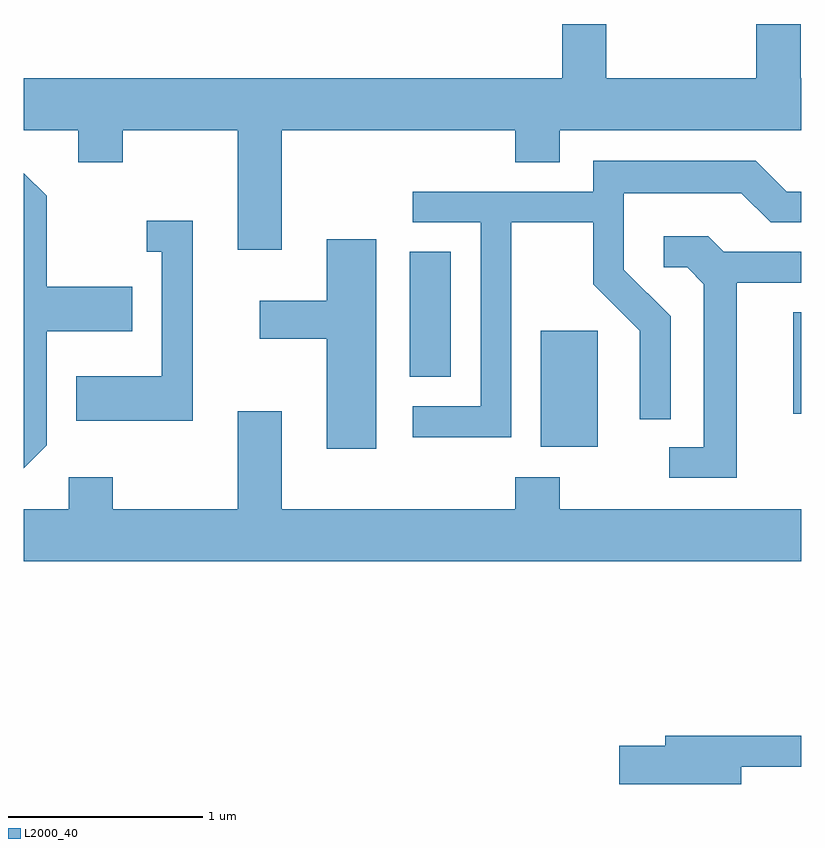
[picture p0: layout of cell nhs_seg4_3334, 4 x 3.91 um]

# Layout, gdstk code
import gdstk
lib = gdstk.Library(unit=1e-6, precision=1e-09)
def R(c, l, rs):  # rectangles x0, y0, x1, y1
    for r in rs: c.add(gdstk.rectangle(r[:2], r[2:], *l))
def P(c, l, *ps):  # polygons
    for p in ps: c.add(gdstk.Polygon(p, *l))
L2000_40 = (2000, 40)

nhs_seg4_3334 = lib.new_cell('nhs_seg4_3334')
R(nhs_seg4_3334, L2000_40, [(286.271,1259.806,286.564,1260.404), (287.571,1259.976,287.611,1260.499), (285.596,1260.166,285.809,1260.809)])
P(nhs_seg4_3334, L2000_40, [(283.611,1261.436),(283.891,1261.436),(283.891,1261.271),(284.119,1261.271),(284.119,1261.436),(284.711,1261.436),(284.711,1260.821),(284.939,1260.821),(284.939,1261.436),(286.141,1261.436),(286.141,1261.271),(286.369,1261.271),(286.369,1261.436),(287.611,1261.436),(287.611,1261.704),(287.609,1261.704),(287.609,1261.982),(287.381,1261.982),(287.381,1261.704),(286.609,1261.704),(286.609,1261.982),(286.381,1261.982),(286.381,1261.704),(283.611,1261.704)],
  [(286.119,1260.961),(286.541,1260.961),(286.541,1260.644),(286.781,1260.404),(286.781,1259.948),(286.939,1259.948),(286.939,1260.477),(286.699,1260.717),(286.699,1261.111),(287.304,1261.111),(287.454,1260.961),(287.611,1260.961),(287.611,1261.119),(287.537,1261.119),(287.377,1261.279),(286.541,1261.279),(286.541,1261.119),(285.613,1261.119),(285.613,1260.961),(285.961,1260.961),(285.961,1260.014),(285.613,1260.014),(285.613,1259.856),(286.119,1259.856)],
  [(283.729,1259.814),(283.729,1260.401),(284.169,1260.401),(284.169,1260.629),(283.729,1260.629),(283.729,1261.097),(283.611,1261.215),(283.611,1259.695)],
  [(284.479,1260.969),(284.243,1260.969),(284.243,1260.811),(284.321,1260.811),(284.321,1260.169),(283.881,1260.169),(283.881,1259.941),(284.479,1259.941)],
  [(287.279,1260.651),(287.611,1260.651),(287.611,1260.809),(287.212,1260.809),(287.132,1260.889),(286.903,1260.889),(286.903,1260.731),(287.024,1260.731),(287.111,1260.644),(287.111,1259.804),(286.933,1259.804),(286.933,1259.646),(287.279,1259.646)],
  [(285.424,1260.874),(285.171,1260.874),(285.171,1260.559),(284.826,1260.559),(284.826,1260.361),(285.171,1260.361),(285.171,1259.796),(285.424,1259.796)],
  [(287.611,1259.484),(286.369,1259.484),(286.369,1259.649),(286.141,1259.649),(286.141,1259.484),(284.939,1259.484),(284.939,1259.989),(284.711,1259.989),(284.711,1259.484),(284.069,1259.484),(284.069,1259.649),(283.841,1259.649),(283.841,1259.484),(283.611,1259.484),(283.611,1259.216),(287.611,1259.216)],
  [(287.304,1258.161),(287.611,1258.161),(287.611,1258.319),(286.911,1258.319),(286.911,1258.269),(286.676,1258.269),(286.676,1258.071),(287.304,1258.071)])

lib.write_gds('nhs_seg4_3334.gds')
